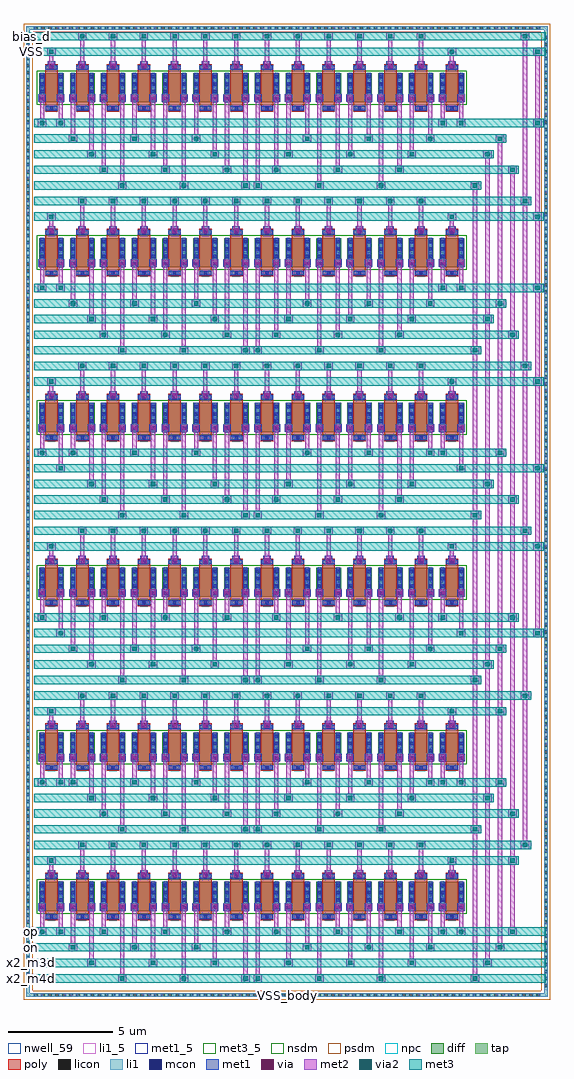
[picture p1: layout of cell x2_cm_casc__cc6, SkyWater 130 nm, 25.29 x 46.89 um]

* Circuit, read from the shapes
.subckt x2_cm_casc__cc6 VSS VSS_body bias_d on op x2_m3d x2_m4d
XM1 op op op VSS_body sky130_fd_pr__nfet_01v8 w=1.4 l=0.6 m=2
XM2 on on on VSS_body sky130_fd_pr__nfet_01v8 w=1.4 l=0.6 m=2
XM3 VSS VSS op VSS_body sky130_fd_pr__nfet_01v8 w=1.4 l=0.6 m=2
XM4 VSS VSS on VSS_body sky130_fd_pr__nfet_01v8 w=1.4 l=0.6 m=2
XM5 VSS VSS VSS VSS_body sky130_fd_pr__nfet_01v8 w=1.4 l=0.6 m=4
XM6 x2_m3d bias_d on VSS_body sky130_fd_pr__nfet_01v8 w=1.4 l=0.6 m=36
XM7 x2_m4d bias_d op VSS_body sky130_fd_pr__nfet_01v8 w=1.4 l=0.6 m=36
.ends

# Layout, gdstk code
from math import pi, radians
import gdstk
lib = gdstk.Library(unit=1e-6, precision=1e-09)
def R(c, l, rs):  # rectangles x0, y0, x1, y1
    for r in rs: c.add(gdstk.rectangle(r[:2], r[2:], *l))
def A(c, l, x, y, w, h, nx, ny, dx, dy):  # array of equal rectangles
    R(c, l, [(x+i*dx, y+j*dy, x+i*dx+w, y+j*dy+h) for i in range(nx) for j in range(ny)])
nwell_59 = (64, 59)
diff = (65, 20)
tap = (65, 44)
poly = (66, 20)
licon = (66, 44)
li1_5 = (67, 5)
li1 = (67, 20)
mcon = (67, 44)
met1_5 = (68, 5)
met1 = (68, 20)
via = (68, 44)
met2 = (69, 20)
via2 = (69, 44)
met3_5 = (70, 5)
met3 = (70, 20)
nsdm = (93, 44)
psdm = (94, 20)
npc = (95, 20)

sky130_fd_pr__nfet_01v8_ = lib.new_cell('sky130_fd_pr__nfet_01v8_KCM6UP')
R(sky130_fd_pr__nfet_01v8_, diff, [(-0.59,-0.7,0.59,0.7)])
R(sky130_fd_pr__nfet_01v8_, poly, [(-0.3,-1.14,0.3,1.14)])
A(sky130_fd_pr__nfet_01v8_, licon, -0.53, -0.595, 0.17, 0.17, 1, 4, 0, 0.34)
A(sky130_fd_pr__nfet_01v8_, licon, 0.36, -0.595, 0.17, 0.17, 1, 4, 0, 0.34)
R(sky130_fd_pr__nfet_01v8_, licon, [(-0.085,-1.06,0.085,-0.89), (-0.085,0.89,0.085,1.06)])
R(sky130_fd_pr__nfet_01v8_, li1, [(-0.3,-1.06,0.3,-0.89), (-0.53,-0.72,-0.36,0.72), (0.36,-0.72,0.53,0.72), (-0.3,0.89,0.3,1.06)])
A(sky130_fd_pr__nfet_01v8_, mcon, -0.53, -0.625, 0.17, 0.17, 1, 4, 0, 0.36)
A(sky130_fd_pr__nfet_01v8_, mcon, 0.36, -0.625, 0.17, 0.17, 1, 4, 0, 0.36)
R(sky130_fd_pr__nfet_01v8_, mcon, [(-0.085,-1.06,0.085,-0.89), (-0.085,0.89,0.085,1.06)])
R(sky130_fd_pr__nfet_01v8_, met1, [(-0.28,-1.09,0.28,-0.86), (-0.56,-0.7,-0.33,0.7), (0.33,-0.7,0.56,0.7), (-0.28,0.86,0.28,1.09)])
R(sky130_fd_pr__nfet_01v8_, nsdm, [(-0.715,-0.825,0.715,0.825)])
R(sky130_fd_pr__nfet_01v8_, npc, [(-0.185,-1.16,0.185,-0.79), (-0.185,0.79,0.185,1.16)])
sky130_fd_pr__nfet_01v8_.add(gdstk.Label('D', (-0.445,0), layer=67, texttype=5))
sky130_fd_pr__nfet_01v8_.add(gdstk.Label('S', (0.445,0), layer=67, texttype=5))
sky130_fd_pr__nfet_01v8_.add(gdstk.Label('G', (0,0.975), layer=67, texttype=5))

nfet_01v8_w1p4_l0p6_m2__ = lib.new_cell('nfet_01v8_W1p4_L0p6_m2__nf1_gboth_sdfull_ng')
R(nfet_01v8_w1p4_l0p6_m2__, nwell_59, [(0.05,1.09,0.15,1.19)])
R(nfet_01v8_w1p4_l0p6_m2__, met1_5, [(0.03,1.14,0.26,1.34), (0.92,1.14,1.15,1.34), (0.31,2,0.87,2.23)])
R(nfet_01v8_w1p4_l0p6_m2__, met1, [(0.03,1.14,0.26,1.34), (0.92,1.14,1.15,1.34), (0.31,2,0.87,2.23)])
nfet_01v8_w1p4_l0p6_m2__.add(gdstk.Reference(sky130_fd_pr__nfet_01v8_, (0.59,1.14)))
nfet_01v8_w1p4_l0p6_m2__.add(gdstk.Label('D', (0.145,1.24), layer=68, texttype=5))
nfet_01v8_w1p4_l0p6_m2__.add(gdstk.Label('S', (1.035,1.24), layer=68, texttype=5))
nfet_01v8_w1p4_l0p6_m2__.add(gdstk.Label('G', (0.59,2.115), layer=68, texttype=5))
nfet_01v8_w1p4_l0p6_m2__.add(gdstk.Label('B', (0.1,1.14), layer=64, texttype=59))

nfet_01v8_w1p4_l0p6_m36_ = lib.new_cell('nfet_01v8_W1p4_L0p6_m36__nf1_gboth_sdfull_ng')
R(nfet_01v8_w1p4_l0p6_m36_, nwell_59, [(0.05,1.09,0.15,1.19)])
R(nfet_01v8_w1p4_l0p6_m36_, met1_5, [(0.03,1.14,0.26,1.34), (0.92,1.14,1.15,1.34), (0.31,2,0.87,2.23)])
R(nfet_01v8_w1p4_l0p6_m36_, met1, [(0.03,1.14,0.26,1.34), (0.92,1.14,1.15,1.34), (0.31,2,0.87,2.23)])
nfet_01v8_w1p4_l0p6_m36_.add(gdstk.Reference(sky130_fd_pr__nfet_01v8_, (0.59,1.14)))
nfet_01v8_w1p4_l0p6_m36_.add(gdstk.Label('D', (0.145,1.24), layer=68, texttype=5))
nfet_01v8_w1p4_l0p6_m36_.add(gdstk.Label('S', (1.035,1.24), layer=68, texttype=5))
nfet_01v8_w1p4_l0p6_m36_.add(gdstk.Label('G', (0.59,2.115), layer=68, texttype=5))
nfet_01v8_w1p4_l0p6_m36_.add(gdstk.Label('B', (0.1,1.14), layer=64, texttype=59))

x2_cm_casc__cc6 = lib.new_cell('x2_cm_casc__cc6')
R(x2_cm_casc__cc6, tap, [(-0.485,-3.685,24.555,-3.515), (-0.485,-3.515,-0.315,42.785), (24.385,-3.515,24.555,42.785), (-0.485,42.785,24.555,42.955)])
A(x2_cm_casc__cc6, licon, -0.12, -3.685, 0.17, 0.17, 72, 2, 0.34, 46.47)
A(x2_cm_casc__cc6, licon, -0.485, -3.23, 0.17, 0.17, 1, 135, 0, 0.34)
A(x2_cm_casc__cc6, licon, 24.385, -3.23, 0.17, 0.17, 1, 135, 0, 0.34)
R(x2_cm_casc__cc6, li1_5, [(11.985,-3.65,12.085,-3.55)])
R(x2_cm_casc__cc6, li1, [(-0.485,-3.685,24.555,-3.515), (-0.485,-3.515,-0.315,42.785), (24.385,-3.515,24.555,42.785), (-0.485,42.785,24.555,42.955)])
A(x2_cm_casc__cc6, met1, 0.535, 2.05, 0.36, 0.36, 14, 2, 1.48, 7.17)
A(x2_cm_casc__cc6, met1, 0.09, 7.63, 0.36, 0.36, 1, 5, 0, 7.92)
A(x2_cm_casc__cc6, met1, 0.98, 7.63, 0.36, 0.36, 1, 5, 0, 7.92)
A(x2_cm_casc__cc6, met1, 1.57, 7.63, 0.36, 0.36, 1, 5, 0, 7.92)
A(x2_cm_casc__cc6, met1, 2.46, 7.63, 0.36, 0.36, 1, 5, 0, 7.92)
A(x2_cm_casc__cc6, met1, 3.05, 7.63, 0.36, 0.36, 1, 5, 0, 7.92)
A(x2_cm_casc__cc6, met1, 3.94, 7.63, 0.36, 0.36, 1, 5, 0, 7.92)
A(x2_cm_casc__cc6, met1, 4.53, 7.63, 0.36, 0.36, 1, 5, 0, 7.92)
A(x2_cm_casc__cc6, met1, 5.42, 7.63, 0.36, 0.36, 1, 5, 0, 7.92)
A(x2_cm_casc__cc6, met1, 6.01, 7.63, 0.36, 0.36, 1, 5, 0, 7.92)
A(x2_cm_casc__cc6, met1, 6.9, 7.63, 0.36, 0.36, 1, 5, 0, 7.92)
A(x2_cm_casc__cc6, met1, 7.49, 7.63, 0.36, 0.36, 1, 5, 0, 7.92)
A(x2_cm_casc__cc6, met1, 8.38, 7.63, 0.36, 0.36, 1, 5, 0, 7.92)
A(x2_cm_casc__cc6, met1, 8.97, 7.63, 0.36, 0.36, 1, 5, 0, 7.92)
A(x2_cm_casc__cc6, met1, 9.86, 7.63, 0.36, 0.36, 1, 5, 0, 7.92)
A(x2_cm_casc__cc6, met1, 10.45, 7.63, 0.36, 0.36, 1, 5, 0, 7.92)
A(x2_cm_casc__cc6, met1, 11.34, 7.63, 0.36, 0.36, 1, 5, 0, 7.92)
A(x2_cm_casc__cc6, met1, 11.93, 7.63, 0.36, 0.36, 1, 5, 0, 7.92)
A(x2_cm_casc__cc6, met1, 12.82, 7.63, 0.36, 0.36, 1, 5, 0, 7.92)
A(x2_cm_casc__cc6, met1, 13.41, 7.63, 0.36, 0.36, 1, 5, 0, 7.92)
A(x2_cm_casc__cc6, met1, 14.3, 7.63, 0.36, 0.36, 1, 5, 0, 7.92)
A(x2_cm_casc__cc6, met1, 14.89, 7.63, 0.36, 0.36, 1, 5, 0, 7.92)
A(x2_cm_casc__cc6, met1, 15.78, 7.63, 0.36, 0.36, 1, 5, 0, 7.92)
A(x2_cm_casc__cc6, met1, 16.37, 7.63, 0.36, 0.36, 1, 5, 0, 7.92)
A(x2_cm_casc__cc6, met1, 17.26, 7.63, 0.36, 0.36, 1, 5, 0, 7.92)
A(x2_cm_casc__cc6, met1, 17.85, 7.63, 0.36, 0.36, 1, 5, 0, 7.92)
A(x2_cm_casc__cc6, met1, 18.74, 7.63, 0.36, 0.36, 1, 5, 0, 7.92)
A(x2_cm_casc__cc6, met1, 19.33, 7.63, 0.36, 0.36, 1, 5, 0, 7.92)
A(x2_cm_casc__cc6, met1, 20.22, 7.63, 0.36, 0.36, 1, 5, 0, 7.92)
A(x2_cm_casc__cc6, met1, 0.535, 17.14, 0.36, 0.36, 14, 4, 1.48, 7.92)
R(x2_cm_casc__cc6, met1, [(0.09,0.46,0.45,0.82), (0.98,0.46,1.34,0.82), (1.57,0.46,1.93,0.82), (2.46,0.46,2.82,0.82), (3.05,0.46,3.41,0.82), (3.94,0.46,4.3,0.82), (4.53,0.46,4.89,0.82), (5.42,0.46,5.78,0.82), (6.01,0.46,6.37,0.82), (6.9,0.46,7.26,0.82), (7.49,0.46,7.85,0.82), (8.38,0.46,8.74,0.82), (8.97,0.46,9.33,0.82), (9.86,0.46,10.22,0.82), (10.45,0.46,10.81,0.82), (11.34,0.46,11.7,0.82), (11.93,0.46,12.29,0.82), (12.82,0.46,13.18,0.82), (13.41,0.46,13.77,0.82), (14.3,0.46,14.66,0.82), (14.89,0.46,15.25,0.82), (15.78,0.46,16.14,0.82), (16.37,0.46,16.73,0.82), (17.26,0.46,17.62,0.82), (17.85,0.46,18.21,0.82), (18.74,0.46,19.1,0.82), (19.33,0.46,19.69,0.82), (20.22,0.46,20.58,0.82)])
A(x2_cm_casc__cc6, via, 0.64, 2.155, 0.15, 0.15, 14, 2, 1.48, 7.17)
A(x2_cm_casc__cc6, via, 0.195, 7.735, 0.15, 0.15, 1, 5, 0, 7.92)
A(x2_cm_casc__cc6, via, 1.085, 7.735, 0.15, 0.15, 1, 5, 0, 7.92)
A(x2_cm_casc__cc6, via, 1.675, 7.735, 0.15, 0.15, 1, 5, 0, 7.92)
A(x2_cm_casc__cc6, via, 2.565, 7.735, 0.15, 0.15, 1, 5, 0, 7.92)
A(x2_cm_casc__cc6, via, 3.155, 7.735, 0.15, 0.15, 1, 5, 0, 7.92)
A(x2_cm_casc__cc6, via, 4.045, 7.735, 0.15, 0.15, 1, 5, 0, 7.92)
A(x2_cm_casc__cc6, via, 4.635, 7.735, 0.15, 0.15, 1, 5, 0, 7.92)
A(x2_cm_casc__cc6, via, 5.525, 7.735, 0.15, 0.15, 1, 5, 0, 7.92)
A(x2_cm_casc__cc6, via, 6.115, 7.735, 0.15, 0.15, 1, 5, 0, 7.92)
A(x2_cm_casc__cc6, via, 7.005, 7.735, 0.15, 0.15, 1, 5, 0, 7.92)
A(x2_cm_casc__cc6, via, 7.595, 7.735, 0.15, 0.15, 1, 5, 0, 7.92)
A(x2_cm_casc__cc6, via, 8.485, 7.735, 0.15, 0.15, 1, 5, 0, 7.92)
A(x2_cm_casc__cc6, via, 9.075, 7.735, 0.15, 0.15, 1, 5, 0, 7.92)
A(x2_cm_casc__cc6, via, 9.965, 7.735, 0.15, 0.15, 1, 5, 0, 7.92)
A(x2_cm_casc__cc6, via, 10.555, 7.735, 0.15, 0.15, 1, 5, 0, 7.92)
A(x2_cm_casc__cc6, via, 11.445, 7.735, 0.15, 0.15, 1, 5, 0, 7.92)
A(x2_cm_casc__cc6, via, 12.035, 7.735, 0.15, 0.15, 1, 5, 0, 7.92)
A(x2_cm_casc__cc6, via, 12.925, 7.735, 0.15, 0.15, 1, 5, 0, 7.92)
A(x2_cm_casc__cc6, via, 13.515, 7.735, 0.15, 0.15, 1, 5, 0, 7.92)
A(x2_cm_casc__cc6, via, 14.405, 7.735, 0.15, 0.15, 1, 5, 0, 7.92)
A(x2_cm_casc__cc6, via, 14.995, 7.735, 0.15, 0.15, 1, 5, 0, 7.92)
A(x2_cm_casc__cc6, via, 15.885, 7.735, 0.15, 0.15, 1, 5, 0, 7.92)
A(x2_cm_casc__cc6, via, 16.475, 7.735, 0.15, 0.15, 1, 5, 0, 7.92)
A(x2_cm_casc__cc6, via, 17.365, 7.735, 0.15, 0.15, 1, 5, 0, 7.92)
A(x2_cm_casc__cc6, via, 17.955, 7.735, 0.15, 0.15, 1, 5, 0, 7.92)
A(x2_cm_casc__cc6, via, 18.845, 7.735, 0.15, 0.15, 1, 5, 0, 7.92)
A(x2_cm_casc__cc6, via, 19.435, 7.735, 0.15, 0.15, 1, 5, 0, 7.92)
A(x2_cm_casc__cc6, via, 20.325, 7.735, 0.15, 0.15, 1, 5, 0, 7.92)
A(x2_cm_casc__cc6, via, 0.64, 17.245, 0.15, 0.15, 14, 4, 1.48, 7.92)
R(x2_cm_casc__cc6, via, [(0.195,0.565,0.345,0.715), (1.085,0.565,1.235,0.715), (1.675,0.565,1.825,0.715), (2.565,0.565,2.715,0.715), (3.155,0.565,3.305,0.715), (4.045,0.565,4.195,0.715), (4.635,0.565,4.785,0.715), (5.525,0.565,5.675,0.715), (6.115,0.565,6.265,0.715), (7.005,0.565,7.155,0.715), (7.595,0.565,7.745,0.715), (8.485,0.565,8.635,0.715), (9.075,0.565,9.225,0.715), (9.965,0.565,10.115,0.715), (10.555,0.565,10.705,0.715), (11.445,0.565,11.595,0.715), (12.035,0.565,12.185,0.715), (12.925,0.565,13.075,0.715), (13.515,0.565,13.665,0.715), (14.405,0.565,14.555,0.715), (14.995,0.565,15.145,0.715), (15.885,0.565,16.035,0.715), (16.475,0.565,16.625,0.715), (17.365,0.565,17.515,0.715), (17.955,0.565,18.105,0.715), (18.845,0.565,18.995,0.715), (19.435,0.565,19.585,0.715), (20.325,0.565,20.475,0.715)])
A(x2_cm_casc__cc6, met2, 3.92, -3, 0.4, 0.4, 3, 3, 2.96, 7.17)
A(x2_cm_casc__cc6, met2, 10.43, -3, 0.4, 0.4, 3, 3, 2.96, 7.17)
A(x2_cm_casc__cc6, met2, 20.87, -3, 0.4, 0.4, 1, 3, 0, 7.17)
A(x2_cm_casc__cc6, met2, 4.02, -2.6, 0.2, 3.08, 3, 2, 2.96, 7.17)
A(x2_cm_casc__cc6, met2, 10.53, -2.6, 0.2, 3.08, 3, 2, 2.96, 7.17)
A(x2_cm_casc__cc6, met2, 2.44, -2.25, 0.4, 0.4, 3, 2, 2.96, 7.92)
A(x2_cm_casc__cc6, met2, 11.91, -2.25, 0.4, 0.4, 3, 2, 2.96, 7.92)
A(x2_cm_casc__cc6, met2, 2.54, -1.85, 0.2, 2.33, 3, 2, 2.96, 23.01)
A(x2_cm_casc__cc6, met2, 12.01, -1.85, 0.2, 2.33, 3, 2, 2.96, 23.01)
A(x2_cm_casc__cc6, met2, 1.55, -1.5, 0.4, 0.4, 3, 2, 2.96, 7.92)
A(x2_cm_casc__cc6, met2, 12.8, -1.5, 0.4, 0.4, 3, 2, 2.96, 7.92)
A(x2_cm_casc__cc6, met2, 1.65, -1.1, 0.2, 1.58, 3, 2, 2.96, 30.93)
A(x2_cm_casc__cc6, met2, 12.9, -1.1, 0.2, 1.58, 3, 2, 2.96, 30.93)
A(x2_cm_casc__cc6, met2, 0.96, -0.75, 0.4, 0.4, 1, 3, 0, 7.17)
A(x2_cm_casc__cc6, met2, 3.03, -0.75, 0.4, 0.4, 3, 2, 2.96, 5.67)
A(x2_cm_casc__cc6, met2, 11.32, -0.75, 0.4, 0.4, 3, 2, 2.96, 5.67)
A(x2_cm_casc__cc6, met2, 20.2, -0.75, 0.4, 0.4, 1, 3, 0, 7.17)
A(x2_cm_casc__cc6, met2, 3.13, -0.35, 0.2, 0.83, 3, 1, 2.96, 0)
A(x2_cm_casc__cc6, met2, 11.42, -0.35, 0.2, 0.83, 3, 2, 2.96, 15.09)
A(x2_cm_casc__cc6, met2, 0.585, 2.07, 0.26, 0.32, 14, 2, 1.48, 7.17)
A(x2_cm_casc__cc6, met2, 2.095, 2.39, 0.2, 1.03, 12, 2, 1.48, 7.17)
A(x2_cm_casc__cc6, met2, 1.995, 3.42, 0.4, 0.4, 12, 2, 1.48, 7.17)
A(x2_cm_casc__cc6, met2, 3.13, 5.32, 0.2, 2.33, 3, 1, 2.96, 0)
A(x2_cm_casc__cc6, met2, 11.42, 5.32, 0.2, 2.33, 3, 1, 2.96, 0)
A(x2_cm_casc__cc6, met2, 2.54, 6.07, 0.2, 1.58, 3, 1, 2.96, 0)
A(x2_cm_casc__cc6, met2, 12.01, 6.07, 0.2, 1.58, 3, 1, 2.96, 0)
A(x2_cm_casc__cc6, met2, 19.31, 6.42, 0.4, 0.4, 1, 5, 0, 7.92)
A(x2_cm_casc__cc6, met2, 1.65, 6.82, 0.2, 0.83, 3, 2, 2.96, 15.84)
A(x2_cm_casc__cc6, met2, 12.9, 6.82, 0.2, 0.83, 3, 2, 2.96, 15.84)
A(x2_cm_casc__cc6, met2, 19.41, 6.82, 0.2, 0.83, 1, 5, 0, 7.92)
A(x2_cm_casc__cc6, met2, 0.14, 7.65, 0.26, 0.32, 1, 5, 0, 7.92)
A(x2_cm_casc__cc6, met2, 1.03, 7.65, 0.26, 0.32, 1, 5, 0, 7.92)
A(x2_cm_casc__cc6, met2, 1.62, 7.65, 0.26, 0.32, 1, 5, 0, 7.92)
A(x2_cm_casc__cc6, met2, 2.51, 7.65, 0.26, 0.32, 1, 5, 0, 7.92)
A(x2_cm_casc__cc6, met2, 3.1, 7.65, 0.26, 0.32, 1, 5, 0, 7.92)
A(x2_cm_casc__cc6, met2, 3.99, 7.65, 0.26, 0.32, 1, 5, 0, 7.92)
A(x2_cm_casc__cc6, met2, 4.58, 7.65, 0.26, 0.32, 1, 5, 0, 7.92)
A(x2_cm_casc__cc6, met2, 5.47, 7.65, 0.26, 0.32, 1, 5, 0, 7.92)
A(x2_cm_casc__cc6, met2, 6.06, 7.65, 0.26, 0.32, 1, 5, 0, 7.92)
A(x2_cm_casc__cc6, met2, 6.95, 7.65, 0.26, 0.32, 1, 5, 0, 7.92)
A(x2_cm_casc__cc6, met2, 7.54, 7.65, 0.26, 0.32, 1, 5, 0, 7.92)
A(x2_cm_casc__cc6, met2, 8.43, 7.65, 0.26, 0.32, 1, 5, 0, 7.92)
A(x2_cm_casc__cc6, met2, 9.02, 7.65, 0.26, 0.32, 1, 5, 0, 7.92)
A(x2_cm_casc__cc6, met2, 9.91, 7.65, 0.26, 0.32, 1, 5, 0, 7.92)
A(x2_cm_casc__cc6, met2, 10.5, 7.65, 0.26, 0.32, 1, 5, 0, 7.92)
A(x2_cm_casc__cc6, met2, 11.39, 7.65, 0.26, 0.32, 1, 5, 0, 7.92)
A(x2_cm_casc__cc6, met2, 11.98, 7.65, 0.26, 0.32, 1, 5, 0, 7.92)
A(x2_cm_casc__cc6, met2, 12.87, 7.65, 0.26, 0.32, 1, 5, 0, 7.92)
A(x2_cm_casc__cc6, met2, 13.46, 7.65, 0.26, 0.32, 1, 5, 0, 7.92)
A(x2_cm_casc__cc6, met2, 14.35, 7.65, 0.26, 0.32, 1, 5, 0, 7.92)
A(x2_cm_casc__cc6, met2, 14.94, 7.65, 0.26, 0.32, 1, 5, 0, 7.92)
A(x2_cm_casc__cc6, met2, 15.83, 7.65, 0.26, 0.32, 1, 5, 0, 7.92)
A(x2_cm_casc__cc6, met2, 16.42, 7.65, 0.26, 0.32, 1, 5, 0, 7.92)
A(x2_cm_casc__cc6, met2, 17.31, 7.65, 0.26, 0.32, 1, 5, 0, 7.92)
A(x2_cm_casc__cc6, met2, 17.9, 7.65, 0.26, 0.32, 1, 5, 0, 7.92)
A(x2_cm_casc__cc6, met2, 18.79, 7.65, 0.26, 0.32, 1, 5, 0, 7.92)
A(x2_cm_casc__cc6, met2, 19.38, 7.65, 0.26, 0.32, 1, 5, 0, 7.92)
A(x2_cm_casc__cc6, met2, 20.27, 7.65, 0.26, 0.32, 1, 5, 0, 7.92)
A(x2_cm_casc__cc6, met2, 0.615, 9.56, 0.2, 0.28, 1, 5, 0, 7.92)
A(x2_cm_casc__cc6, met2, 19.855, 9.56, 0.2, 0.28, 1, 5, 0, 7.92)
A(x2_cm_casc__cc6, met2, 0.515, 9.84, 0.4, 0.4, 1, 5, 0, 7.92)
A(x2_cm_casc__cc6, met2, 19.755, 9.84, 0.4, 0.4, 1, 5, 0, 7.92)
A(x2_cm_casc__cc6, met2, 23.27, 10.59, 0.4, 0.4, 1, 5, 0, 7.92)
A(x2_cm_casc__cc6, met2, 23.37, 10.99, 0.2, 7.52, 1, 4, 0, 7.92)
A(x2_cm_casc__cc6, met2, 4.02, 11.74, 0.2, 3.83, 3, 4, 2.96, 7.92)
A(x2_cm_casc__cc6, met2, 10.53, 11.74, 0.2, 3.83, 3, 4, 2.96, 7.92)
A(x2_cm_casc__cc6, met2, 20.97, 11.74, 0.2, 7.52, 1, 3, 0, 7.92)
A(x2_cm_casc__cc6, met2, 2.44, 12.09, 0.4, 0.4, 3, 2, 2.96, 8.67)
A(x2_cm_casc__cc6, met2, 11.91, 12.09, 0.4, 0.4, 3, 2, 2.96, 8.67)
A(x2_cm_casc__cc6, met2, 2.54, 12.49, 0.2, 3.08, 3, 1, 2.96, 0)
A(x2_cm_casc__cc6, met2, 12.01, 12.49, 0.2, 3.08, 3, 1, 2.96, 0)
A(x2_cm_casc__cc6, met2, 1.55, 12.84, 0.4, 0.4, 3, 2, 2.96, 9.42)
A(x2_cm_casc__cc6, met2, 12.8, 12.84, 0.4, 0.4, 3, 2, 2.96, 9.42)
A(x2_cm_casc__cc6, met2, 1.65, 13.24, 0.2, 2.33, 3, 1, 2.96, 0)
A(x2_cm_casc__cc6, met2, 12.9, 13.24, 0.2, 2.33, 3, 1, 2.96, 0)
A(x2_cm_casc__cc6, met2, 0.07, 14.34, 0.4, 0.4, 4, 1, 2.96, 0)
A(x2_cm_casc__cc6, met2, 11.32, 14.34, 0.4, 0.4, 3, 2, 2.96, 5.67)
A(x2_cm_casc__cc6, met2, 0.17, 14.74, 0.2, 0.83, 4, 1, 2.96, 0)
A(x2_cm_casc__cc6, met2, 0.585, 17.16, 0.26, 0.32, 14, 4, 1.48, 7.92)
A(x2_cm_casc__cc6, met2, 2.095, 17.48, 0.2, 1.03, 12, 4, 1.48, 7.92)
A(x2_cm_casc__cc6, met2, 1.995, 18.51, 0.4, 0.4, 12, 4, 1.48, 7.92)
A(x2_cm_casc__cc6, met2, 3.92, 19.26, 0.4, 0.4, 3, 3, 2.96, 7.92)
A(x2_cm_casc__cc6, met2, 10.43, 19.26, 0.4, 0.4, 3, 3, 2.96, 7.92)
A(x2_cm_casc__cc6, met2, 20.87, 19.26, 0.4, 0.4, 1, 3, 0, 7.92)
A(x2_cm_casc__cc6, met2, 3.03, 20.01, 0.4, 0.4, 3, 3, 2.96, 7.92)
A(x2_cm_casc__cc6, met2, 22.67, 20.01, 0.4, 0.4, 1, 3, 0, 7.92)
A(x2_cm_casc__cc6, met2, 3.13, 20.41, 0.2, 3.08, 3, 3, 2.96, 7.92)
A(x2_cm_casc__cc6, met2, 11.42, 20.41, 0.2, 3.08, 3, 3, 2.96, 7.92)
A(x2_cm_casc__cc6, met2, 21.47, 20.76, 0.4, 0.4, 1, 3, 0, 7.92)
A(x2_cm_casc__cc6, met2, 0.07, 22.26, 0.4, 0.4, 1, 3, 0, 7.92)
A(x2_cm_casc__cc6, met2, 0.17, 22.66, 0.2, 0.83, 1, 3, 0, 7.92)
A(x2_cm_casc__cc6, met2, 11.32, 27.93, 0.4, 0.4, 3, 2, 2.96, 7.92)
A(x2_cm_casc__cc6, met2, 2.44, 28.68, 0.4, 0.4, 3, 2, 2.96, 7.92)
A(x2_cm_casc__cc6, met2, 11.91, 28.68, 0.4, 0.4, 3, 2, 2.96, 7.92)
A(x2_cm_casc__cc6, met2, 2.54, 29.08, 0.2, 2.33, 3, 2, 2.96, 7.92)
A(x2_cm_casc__cc6, met2, 12.01, 29.08, 0.2, 2.33, 3, 2, 2.96, 7.92)
A(x2_cm_casc__cc6, met2, 1.55, 29.43, 0.4, 0.4, 3, 2, 2.96, 7.92)
A(x2_cm_casc__cc6, met2, 12.8, 29.43, 0.4, 0.4, 3, 2, 2.96, 7.92)
A(x2_cm_casc__cc6, met2, 1.65, 37.75, 0.2, 1.58, 3, 1, 2.96, 0)
A(x2_cm_casc__cc6, met2, 12.9, 37.75, 0.2, 1.58, 3, 1, 2.96, 0)
R(x2_cm_casc__cc6, met2, [(20.97,-2.6,21.17,4.17), (21.47,-2.25,21.87,-1.85), (21.57,-1.85,21.77,5.67), (22.07,-1.5,22.47,-1.1), (22.17,-1.1,22.37,6.42), (0.07,-0.75,0.47,-0.35), (19.31,-0.75,19.71,-0.35), (22.67,-0.75,23.07,-0.35), (0.17,-0.35,0.37,0.48), (1.06,-0.35,1.26,0.48), (19.41,-0.35,19.61,0.48), (20.3,-0.35,20.5,0.48), (22.77,-0.35,22.97,2.67), (0.14,0.48,0.4,0.8), (1.03,0.48,1.29,0.8), (1.62,0.48,1.88,0.8), (2.51,0.48,2.77,0.8), (3.1,0.48,3.36,0.8), (3.99,0.48,4.25,0.8), (4.58,0.48,4.84,0.8), (5.47,0.48,5.73,0.8), (6.06,0.48,6.32,0.8), (6.95,0.48,7.21,0.8), (7.54,0.48,7.8,0.8), (8.43,0.48,8.69,0.8), (9.02,0.48,9.28,0.8), (9.91,0.48,10.17,0.8), (10.5,0.48,10.76,0.8), (11.39,0.48,11.65,0.8), (11.98,0.48,12.24,0.8), (12.87,0.48,13.13,0.8), (13.46,0.48,13.72,0.8), (14.35,0.48,14.61,0.8), (14.94,0.48,15.2,0.8), (15.83,0.48,16.09,0.8), (16.42,0.48,16.68,0.8), (17.31,0.48,17.57,0.8), (17.9,0.48,18.16,0.8), (18.79,0.48,19.05,0.8), (19.38,0.48,19.64,0.8), (20.27,0.48,20.53,0.8), (0.615,2.39,0.815,2.67), (19.855,2.39,20.055,2.67), (0.515,2.67,0.915,3.07), (19.755,2.67,20.155,3.07), (22.67,2.67,23.07,3.07), (22.77,3.07,22.97,4.92), (23.27,3.42,23.67,3.82), (23.37,3.82,23.57,10.59), (20.97,4.57,21.17,11.34), (22.67,4.92,23.07,5.32), (22.77,5.32,22.97,14.34), (21.47,5.67,21.87,6.07), (21.57,6.07,21.77,12.09), (0.07,6.42,0.47,6.82), (22.07,6.42,22.47,6.82), (0.17,6.82,0.37,7.65), (1.06,6.82,1.26,7.65), (20.3,6.82,20.5,7.65), (22.17,6.82,22.37,9.84), (22.07,9.84,22.47,10.24), (22.17,10.24,22.37,12.84), (21.47,12.09,21.87,12.49), (21.57,12.49,21.77,20.76), (22.07,12.84,22.47,13.24), (22.17,13.24,22.37,22.26), (23.87,13.59,24.27,13.99), (1.06,13.99,1.26,15.57), (20.3,13.99,20.5,15.57), (23.97,13.99,24.17,17.76), (22.67,14.34,23.07,14.74), (22.77,14.74,22.97,20.01), (23.87,17.76,24.27,18.16), (23.97,18.16,24.17,21.51), (22.77,20.41,22.97,27.93), (21.57,21.16,21.77,28.68), (0.96,21.51,1.36,21.91), (20.2,21.51,20.6,21.91), (23.87,21.51,24.27,21.91), (1.06,21.91,1.26,23.49), (20.3,21.91,20.5,23.49), (23.97,21.91,24.17,25.68), (22.07,22.26,22.47,22.66), (22.17,22.66,22.37,29.43), (23.87,25.68,24.27,26.08), (23.97,26.08,24.17,30.18), (22.77,28.33,22.97,35.85), (21.57,29.08,21.77,36.6), (22.07,29.43,22.47,29.83), (22.17,29.83,22.37,37.35), (0.96,30.18,1.36,30.58), (20.2,30.18,20.6,30.58), (23.87,30.18,24.27,30.58), (1.06,30.58,1.26,31.41), (20.3,30.58,20.5,31.41), (23.97,30.58,24.17,33.6), (23.87,33.6,24.27,34), (23.97,34,24.17,38.1), (22.07,37.35,22.47,37.75), (0.96,38.1,1.36,38.5), (20.2,38.1,20.6,38.5), (23.87,38.1,24.27,38.5), (1.06,38.5,1.26,39.33), (20.3,38.5,20.5,39.33), (23.97,38.5,24.17,41.52), (23.87,41.52,24.27,41.92)])
A(x2_cm_casc__cc6, via2, 4.02, -2.9, 0.2, 0.2, 3, 3, 2.96, 7.17)
A(x2_cm_casc__cc6, via2, 10.53, -2.9, 0.2, 0.2, 3, 3, 2.96, 7.17)
A(x2_cm_casc__cc6, via2, 20.97, -2.9, 0.2, 0.2, 1, 3, 0, 7.17)
A(x2_cm_casc__cc6, via2, 2.54, -2.15, 0.2, 0.2, 3, 2, 2.96, 7.92)
A(x2_cm_casc__cc6, via2, 12.01, -2.15, 0.2, 0.2, 3, 2, 2.96, 7.92)
A(x2_cm_casc__cc6, via2, 1.65, -1.4, 0.2, 0.2, 3, 2, 2.96, 7.92)
A(x2_cm_casc__cc6, via2, 12.9, -1.4, 0.2, 0.2, 3, 2, 2.96, 7.92)
A(x2_cm_casc__cc6, via2, 1.06, -0.65, 0.2, 0.2, 1, 3, 0, 7.17)
A(x2_cm_casc__cc6, via2, 3.13, -0.65, 0.2, 0.2, 3, 2, 2.96, 5.67)
A(x2_cm_casc__cc6, via2, 11.42, -0.65, 0.2, 0.2, 3, 2, 2.96, 5.67)
A(x2_cm_casc__cc6, via2, 20.3, -0.65, 0.2, 0.2, 1, 3, 0, 7.17)
A(x2_cm_casc__cc6, via2, 2.095, 3.52, 0.2, 0.2, 12, 2, 1.48, 7.17)
A(x2_cm_casc__cc6, via2, 19.41, 6.52, 0.2, 0.2, 1, 5, 0, 7.92)
A(x2_cm_casc__cc6, via2, 0.615, 9.94, 0.2, 0.2, 1, 5, 0, 7.92)
A(x2_cm_casc__cc6, via2, 19.855, 9.94, 0.2, 0.2, 1, 5, 0, 7.92)
A(x2_cm_casc__cc6, via2, 23.37, 10.69, 0.2, 0.2, 1, 5, 0, 7.92)
A(x2_cm_casc__cc6, via2, 2.54, 12.19, 0.2, 0.2, 3, 2, 2.96, 8.67)
A(x2_cm_casc__cc6, via2, 12.01, 12.19, 0.2, 0.2, 3, 2, 2.96, 8.67)
A(x2_cm_casc__cc6, via2, 1.65, 12.94, 0.2, 0.2, 3, 2, 2.96, 9.42)
A(x2_cm_casc__cc6, via2, 12.9, 12.94, 0.2, 0.2, 3, 2, 2.96, 9.42)
A(x2_cm_casc__cc6, via2, 0.17, 14.44, 0.2, 0.2, 4, 1, 2.96, 0)
A(x2_cm_casc__cc6, via2, 11.42, 14.44, 0.2, 0.2, 3, 2, 2.96, 5.67)
A(x2_cm_casc__cc6, via2, 2.095, 18.61, 0.2, 0.2, 12, 4, 1.48, 7.92)
A(x2_cm_casc__cc6, via2, 4.02, 19.36, 0.2, 0.2, 3, 3, 2.96, 7.92)
A(x2_cm_casc__cc6, via2, 10.53, 19.36, 0.2, 0.2, 3, 3, 2.96, 7.92)
A(x2_cm_casc__cc6, via2, 20.97, 19.36, 0.2, 0.2, 1, 3, 0, 7.92)
A(x2_cm_casc__cc6, via2, 3.13, 20.11, 0.2, 0.2, 3, 3, 2.96, 7.92)
A(x2_cm_casc__cc6, via2, 22.77, 20.11, 0.2, 0.2, 1, 3, 0, 7.92)
A(x2_cm_casc__cc6, via2, 21.57, 20.86, 0.2, 0.2, 1, 3, 0, 7.92)
A(x2_cm_casc__cc6, via2, 0.17, 22.36, 0.2, 0.2, 1, 3, 0, 7.92)
A(x2_cm_casc__cc6, via2, 11.42, 28.03, 0.2, 0.2, 3, 2, 2.96, 7.92)
A(x2_cm_casc__cc6, via2, 2.54, 28.78, 0.2, 0.2, 3, 2, 2.96, 7.92)
A(x2_cm_casc__cc6, via2, 12.01, 28.78, 0.2, 0.2, 3, 2, 2.96, 7.92)
A(x2_cm_casc__cc6, via2, 1.65, 29.53, 0.2, 0.2, 3, 2, 2.96, 7.92)
A(x2_cm_casc__cc6, via2, 12.9, 29.53, 0.2, 0.2, 3, 2, 2.96, 7.92)
R(x2_cm_casc__cc6, via2, [(21.57,-2.15,21.77,-1.95), (22.17,-1.4,22.37,-1.2), (0.17,-0.65,0.37,-0.45), (19.41,-0.65,19.61,-0.45), (22.77,-0.65,22.97,-0.45), (0.615,2.77,0.815,2.97), (19.855,2.77,20.055,2.97), (22.77,2.77,22.97,2.97), (23.37,3.52,23.57,3.72), (22.77,5.02,22.97,5.22), (21.57,5.77,21.77,5.97), (0.17,6.52,0.37,6.72), (22.17,6.52,22.37,6.72), (22.17,9.94,22.37,10.14), (21.57,12.19,21.77,12.39), (22.17,12.94,22.37,13.14), (23.97,13.69,24.17,13.89), (22.77,14.44,22.97,14.64), (23.97,17.86,24.17,18.06), (1.06,21.61,1.26,21.81), (20.3,21.61,20.5,21.81), (23.97,21.61,24.17,21.81), (22.17,22.36,22.37,22.56), (23.97,25.78,24.17,25.98), (22.17,29.53,22.37,29.73), (1.06,30.28,1.26,30.48), (20.3,30.28,20.5,30.48), (23.97,30.28,24.17,30.48), (23.97,33.7,24.17,33.9), (22.17,37.45,22.37,37.65), (1.06,38.2,1.26,38.4), (20.3,38.2,20.5,38.4), (23.97,38.2,24.17,38.4), (23.97,41.62,24.17,41.82)])
A(x2_cm_casc__cc6, met3_5, -0.3, -2.85, 0.1, 0.1, 1, 4, 0, 0.75)
R(x2_cm_casc__cc6, met3_5, [(-0.3,41.67,-0.2,41.77), (-0.3,42.42,-0.2,42.52)])
A(x2_cm_casc__cc6, met3, -0.4, -3, 24.87, 0.4, 1, 4, 0, 0.75)
A(x2_cm_casc__cc6, met3, -0.1, 10.59, 23.87, 0.4, 1, 4, 0, 7.92)
A(x2_cm_casc__cc6, met3, -0.1, 11.34, 21.47, 0.4, 1, 4, 0, 7.92)
A(x2_cm_casc__cc6, met3, -0.1, 20.01, 23.27, 0.4, 1, 3, 0, 7.92)
A(x2_cm_casc__cc6, met3, -0.1, 20.76, 22.07, 0.4, 1, 3, 0, 7.92)
R(x2_cm_casc__cc6, met3, [(-0.1,2.67,23.17,3.07), (-0.1,3.42,23.77,3.82), (-0.1,4.17,21.37,4.57), (-0.1,4.92,23.17,5.32), (-0.1,5.67,21.97,6.07), (-0.1,6.42,22.57,6.82), (-0.1,9.84,22.57,10.24), (-0.1,12.09,21.97,12.49), (-0.1,12.84,22.57,13.24), (-0.1,13.59,24.37,13.99), (-0.1,14.34,23.17,14.74), (-0.1,17.76,24.37,18.16), (-0.1,21.51,24.37,21.91), (-0.1,22.26,22.57,22.66), (-0.1,25.68,24.37,26.08), (-0.1,29.43,22.57,29.83), (-0.1,30.18,24.37,30.58), (-0.1,33.6,24.37,34), (-0.1,37.35,22.57,37.75), (-0.1,38.1,24.37,38.5), (-0.4,41.52,24.47,41.92), (-0.4,42.27,24.47,42.67)])
A(x2_cm_casc__cc6, nsdm, 1.435, 0.315, 0.05, 1.65, 13, 2, 1.48, 7.17)
A(x2_cm_casc__cc6, nsdm, 1.435, 15.405, 0.05, 1.65, 13, 4, 1.48, 7.92)
R(x2_cm_casc__cc6, psdm, [(-0.61,-3.81,24.68,-3.39), (-0.61,-3.39,-0.19,42.66), (24.26,-3.39,24.68,42.66), (-0.61,42.66,24.68,43.08)])
x2_cm_casc__cc6.add(gdstk.Reference(nfet_01v8_w1p4_l0p6_m2__, (19.37,23.01)))
x2_cm_casc__cc6.add(gdstk.Reference(nfet_01v8_w1p4_l0p6_m2__, (0.13,23.01)))
x2_cm_casc__cc6.add(gdstk.Reference(nfet_01v8_w1p4_l0p6_m2__, (19.37,15.09)))
x2_cm_casc__cc6.add(gdstk.Reference(nfet_01v8_w1p4_l0p6_m2__, (0.13,15.09)))
x2_cm_casc__cc6.add(gdstk.Reference(nfet_01v8_w1p4_l0p6_m2__, (19.37,7.17)))
x2_cm_casc__cc6.add(gdstk.Reference(nfet_01v8_w1p4_l0p6_m2__, (0.13,7.17)))
x2_cm_casc__cc6.add(gdstk.Reference(nfet_01v8_w1p4_l0p6_m2__, (19.37,0)))
x2_cm_casc__cc6.add(gdstk.Reference(nfet_01v8_w1p4_l0p6_m2__, (0.13,0)))
x2_cm_casc__cc6.add(gdstk.Reference(nfet_01v8_w1p4_l0p6_m36_, (20.55,38.85), rotation=pi, x_reflection=True))
x2_cm_casc__cc6.add(gdstk.Reference(nfet_01v8_w1p4_l0p6_m36_, (19.07,38.85), rotation=pi, x_reflection=True))
x2_cm_casc__cc6.add(gdstk.Reference(nfet_01v8_w1p4_l0p6_m36_, (17.59,38.85), rotation=pi, x_reflection=True))
x2_cm_casc__cc6.add(gdstk.Reference(nfet_01v8_w1p4_l0p6_m36_, (16.11,38.85), rotation=pi, x_reflection=True))
x2_cm_casc__cc6.add(gdstk.Reference(nfet_01v8_w1p4_l0p6_m36_, (14.63,38.85), rotation=pi, x_reflection=True))
x2_cm_casc__cc6.add(gdstk.Reference(nfet_01v8_w1p4_l0p6_m36_, (13.15,38.85), rotation=pi, x_reflection=True))
x2_cm_casc__cc6.add(gdstk.Reference(nfet_01v8_w1p4_l0p6_m36_, (11.67,38.85), rotation=pi, x_reflection=True))
x2_cm_casc__cc6.add(gdstk.Reference(nfet_01v8_w1p4_l0p6_m36_, (9.01,38.85)))
x2_cm_casc__cc6.add(gdstk.Reference(nfet_01v8_w1p4_l0p6_m36_, (7.53,38.85)))
x2_cm_casc__cc6.add(gdstk.Reference(nfet_01v8_w1p4_l0p6_m36_, (6.05,38.85)))
x2_cm_casc__cc6.add(gdstk.Reference(nfet_01v8_w1p4_l0p6_m36_, (4.57,38.85)))
x2_cm_casc__cc6.add(gdstk.Reference(nfet_01v8_w1p4_l0p6_m36_, (3.09,38.85)))
x2_cm_casc__cc6.add(gdstk.Reference(nfet_01v8_w1p4_l0p6_m36_, (1.61,38.85)))
x2_cm_casc__cc6.add(gdstk.Reference(nfet_01v8_w1p4_l0p6_m36_, (0.13,38.85)))
x2_cm_casc__cc6.add(gdstk.Reference(nfet_01v8_w1p4_l0p6_m36_, (20.55,30.93), rotation=pi, x_reflection=True))
x2_cm_casc__cc6.add(gdstk.Reference(nfet_01v8_w1p4_l0p6_m36_, (19.07,30.93), rotation=pi, x_reflection=True))
x2_cm_casc__cc6.add(gdstk.Reference(nfet_01v8_w1p4_l0p6_m36_, (17.59,30.93), rotation=pi, x_reflection=True))
x2_cm_casc__cc6.add(gdstk.Reference(nfet_01v8_w1p4_l0p6_m36_, (16.11,30.93), rotation=pi, x_reflection=True))
x2_cm_casc__cc6.add(gdstk.Reference(nfet_01v8_w1p4_l0p6_m36_, (14.63,30.93), rotation=pi, x_reflection=True))
x2_cm_casc__cc6.add(gdstk.Reference(nfet_01v8_w1p4_l0p6_m36_, (13.15,30.93), rotation=pi, x_reflection=True))
x2_cm_casc__cc6.add(gdstk.Reference(nfet_01v8_w1p4_l0p6_m36_, (11.67,30.93), rotation=pi, x_reflection=True))
x2_cm_casc__cc6.add(gdstk.Reference(nfet_01v8_w1p4_l0p6_m36_, (9.01,30.93)))
x2_cm_casc__cc6.add(gdstk.Reference(nfet_01v8_w1p4_l0p6_m36_, (7.53,30.93)))
x2_cm_casc__cc6.add(gdstk.Reference(nfet_01v8_w1p4_l0p6_m36_, (6.05,30.93)))
x2_cm_casc__cc6.add(gdstk.Reference(nfet_01v8_w1p4_l0p6_m36_, (4.57,30.93)))
x2_cm_casc__cc6.add(gdstk.Reference(nfet_01v8_w1p4_l0p6_m36_, (3.09,30.93)))
x2_cm_casc__cc6.add(gdstk.Reference(nfet_01v8_w1p4_l0p6_m36_, (1.61,30.93)))
x2_cm_casc__cc6.add(gdstk.Reference(nfet_01v8_w1p4_l0p6_m36_, (0.13,30.93)))
x2_cm_casc__cc6.add(gdstk.Reference(nfet_01v8_w1p4_l0p6_m36_, (19.07,23.01), rotation=pi, x_reflection=True))
x2_cm_casc__cc6.add(gdstk.Reference(nfet_01v8_w1p4_l0p6_m36_, (17.59,23.01), rotation=pi, x_reflection=True))
x2_cm_casc__cc6.add(gdstk.Reference(nfet_01v8_w1p4_l0p6_m36_, (16.11,23.01), rotation=pi, x_reflection=True))
x2_cm_casc__cc6.add(gdstk.Reference(nfet_01v8_w1p4_l0p6_m36_, (14.63,23.01), rotation=pi, x_reflection=True))
x2_cm_casc__cc6.add(gdstk.Reference(nfet_01v8_w1p4_l0p6_m36_, (13.15,23.01), rotation=pi, x_reflection=True))
x2_cm_casc__cc6.add(gdstk.Reference(nfet_01v8_w1p4_l0p6_m36_, (11.67,23.01), rotation=pi, x_reflection=True))
x2_cm_casc__cc6.add(gdstk.Reference(nfet_01v8_w1p4_l0p6_m36_, (9.01,23.01)))
x2_cm_casc__cc6.add(gdstk.Reference(nfet_01v8_w1p4_l0p6_m36_, (7.53,23.01)))
x2_cm_casc__cc6.add(gdstk.Reference(nfet_01v8_w1p4_l0p6_m36_, (6.05,23.01)))
x2_cm_casc__cc6.add(gdstk.Reference(nfet_01v8_w1p4_l0p6_m36_, (4.57,23.01)))
x2_cm_casc__cc6.add(gdstk.Reference(nfet_01v8_w1p4_l0p6_m36_, (3.09,23.01)))
x2_cm_casc__cc6.add(gdstk.Reference(nfet_01v8_w1p4_l0p6_m36_, (1.61,23.01)))
x2_cm_casc__cc6.add(gdstk.Reference(nfet_01v8_w1p4_l0p6_m36_, (19.07,15.09), rotation=pi, x_reflection=True))
x2_cm_casc__cc6.add(gdstk.Reference(nfet_01v8_w1p4_l0p6_m36_, (17.59,15.09), rotation=pi, x_reflection=True))
x2_cm_casc__cc6.add(gdstk.Reference(nfet_01v8_w1p4_l0p6_m36_, (16.11,15.09), rotation=pi, x_reflection=True))
x2_cm_casc__cc6.add(gdstk.Reference(nfet_01v8_w1p4_l0p6_m36_, (14.63,15.09), rotation=pi, x_reflection=True))
x2_cm_casc__cc6.add(gdstk.Reference(nfet_01v8_w1p4_l0p6_m36_, (13.15,15.09), rotation=pi, x_reflection=True))
x2_cm_casc__cc6.add(gdstk.Reference(nfet_01v8_w1p4_l0p6_m36_, (11.67,15.09), rotation=pi, x_reflection=True))
x2_cm_casc__cc6.add(gdstk.Reference(nfet_01v8_w1p4_l0p6_m36_, (9.01,15.09)))
x2_cm_casc__cc6.add(gdstk.Reference(nfet_01v8_w1p4_l0p6_m36_, (7.53,15.09)))
x2_cm_casc__cc6.add(gdstk.Reference(nfet_01v8_w1p4_l0p6_m36_, (6.05,15.09)))
x2_cm_casc__cc6.add(gdstk.Reference(nfet_01v8_w1p4_l0p6_m36_, (4.57,15.09)))
x2_cm_casc__cc6.add(gdstk.Reference(nfet_01v8_w1p4_l0p6_m36_, (3.09,15.09)))
x2_cm_casc__cc6.add(gdstk.Reference(nfet_01v8_w1p4_l0p6_m36_, (1.61,15.09)))
x2_cm_casc__cc6.add(gdstk.Reference(nfet_01v8_w1p4_l0p6_m36_, (19.07,7.17), rotation=pi, x_reflection=True))
x2_cm_casc__cc6.add(gdstk.Reference(nfet_01v8_w1p4_l0p6_m36_, (17.59,7.17), rotation=pi, x_reflection=True))
x2_cm_casc__cc6.add(gdstk.Reference(nfet_01v8_w1p4_l0p6_m36_, (16.11,7.17), rotation=pi, x_reflection=True))
x2_cm_casc__cc6.add(gdstk.Reference(nfet_01v8_w1p4_l0p6_m36_, (14.63,7.17), rotation=pi, x_reflection=True))
x2_cm_casc__cc6.add(gdstk.Reference(nfet_01v8_w1p4_l0p6_m36_, (13.15,7.17), rotation=pi, x_reflection=True))
x2_cm_casc__cc6.add(gdstk.Reference(nfet_01v8_w1p4_l0p6_m36_, (11.67,7.17), rotation=pi, x_reflection=True))
x2_cm_casc__cc6.add(gdstk.Reference(nfet_01v8_w1p4_l0p6_m36_, (9.01,7.17)))
x2_cm_casc__cc6.add(gdstk.Reference(nfet_01v8_w1p4_l0p6_m36_, (7.53,7.17)))
x2_cm_casc__cc6.add(gdstk.Reference(nfet_01v8_w1p4_l0p6_m36_, (6.05,7.17)))
x2_cm_casc__cc6.add(gdstk.Reference(nfet_01v8_w1p4_l0p6_m36_, (4.57,7.17)))
x2_cm_casc__cc6.add(gdstk.Reference(nfet_01v8_w1p4_l0p6_m36_, (3.09,7.17)))
x2_cm_casc__cc6.add(gdstk.Reference(nfet_01v8_w1p4_l0p6_m36_, (1.61,7.17)))
x2_cm_casc__cc6.add(gdstk.Reference(nfet_01v8_w1p4_l0p6_m36_, (19.07,0), rotation=pi, x_reflection=True))
x2_cm_casc__cc6.add(gdstk.Reference(nfet_01v8_w1p4_l0p6_m36_, (17.59,0), rotation=pi, x_reflection=True))
x2_cm_casc__cc6.add(gdstk.Reference(nfet_01v8_w1p4_l0p6_m36_, (16.11,0), rotation=pi, x_reflection=True))
x2_cm_casc__cc6.add(gdstk.Reference(nfet_01v8_w1p4_l0p6_m36_, (14.63,0), rotation=pi, x_reflection=True))
x2_cm_casc__cc6.add(gdstk.Reference(nfet_01v8_w1p4_l0p6_m36_, (13.15,0), rotation=pi, x_reflection=True))
x2_cm_casc__cc6.add(gdstk.Reference(nfet_01v8_w1p4_l0p6_m36_, (11.67,0), rotation=pi, x_reflection=True))
x2_cm_casc__cc6.add(gdstk.Reference(nfet_01v8_w1p4_l0p6_m36_, (9.01,0)))
x2_cm_casc__cc6.add(gdstk.Reference(nfet_01v8_w1p4_l0p6_m36_, (7.53,0)))
x2_cm_casc__cc6.add(gdstk.Reference(nfet_01v8_w1p4_l0p6_m36_, (6.05,0)))
x2_cm_casc__cc6.add(gdstk.Reference(nfet_01v8_w1p4_l0p6_m36_, (4.57,0)))
x2_cm_casc__cc6.add(gdstk.Reference(nfet_01v8_w1p4_l0p6_m36_, (3.09,0)))
x2_cm_casc__cc6.add(gdstk.Reference(nfet_01v8_w1p4_l0p6_m36_, (1.61,0)))
x2_cm_casc__cc6.add(gdstk.Label('VSS', (-0.25,41.72), layer=70, texttype=5))
x2_cm_casc__cc6.add(gdstk.Label('bias_d', (-0.25,42.47), layer=70, texttype=5))
x2_cm_casc__cc6.add(gdstk.Label('op', (-0.25,-0.55), layer=70, texttype=5))
x2_cm_casc__cc6.add(gdstk.Label('on', (-0.25,-1.3), layer=70, texttype=5))
x2_cm_casc__cc6.add(gdstk.Label('x2_m3d', (-0.25,-2.05), layer=70, texttype=5))
x2_cm_casc__cc6.add(gdstk.Label('x2_m4d', (-0.25,-2.8), layer=70, texttype=5))
x2_cm_casc__cc6.add(gdstk.Label('VSS_body', (12.035,-3.6), layer=67, texttype=5))

lib.write_gds('x2_cm_casc__cc6.gds')
